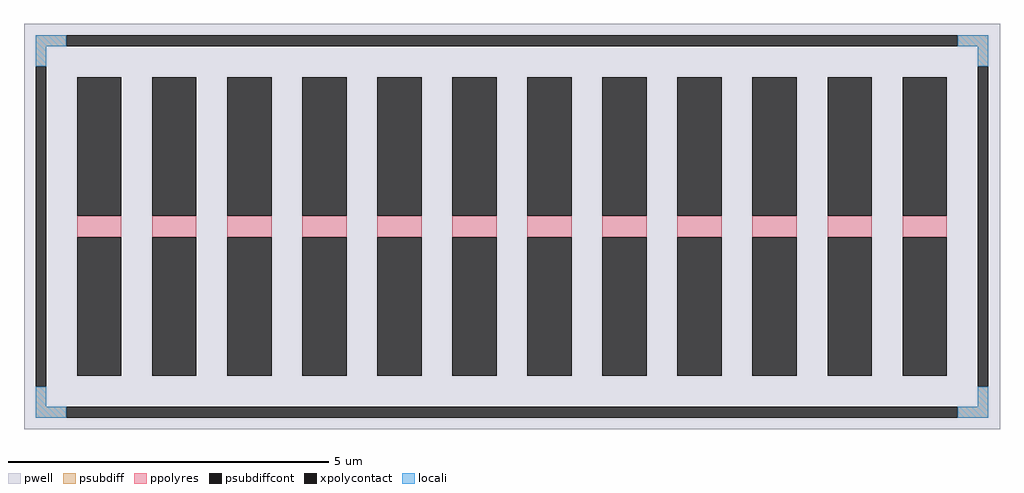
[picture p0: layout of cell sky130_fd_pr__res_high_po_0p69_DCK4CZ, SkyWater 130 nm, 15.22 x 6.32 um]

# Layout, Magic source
magic
tech sky130A
<< pwell >>
rect -761 -316 761 316
<< psubdiff >>
rect -743 281 -695 298
rect 695 281 743 298
rect -743 250 -726 281
rect 726 250 743 281
rect -743 -281 -726 -250
rect 726 -281 743 -250
rect -743 -298 -695 -281
rect 695 -298 743 -281
<< psubdiffcont >>
rect -695 281 695 298
rect -743 -250 -726 250
rect 726 -250 743 250
rect -695 -298 695 -281
<< xpolycontact >>
rect -678 17 -609 233
rect -678 -233 -609 -17
rect -561 17 -492 233
rect -561 -233 -492 -17
rect -444 17 -375 233
rect -444 -233 -375 -17
rect -327 17 -258 233
rect -327 -233 -258 -17
rect -210 17 -141 233
rect -210 -233 -141 -17
rect -93 17 -24 233
rect -93 -233 -24 -17
rect 24 17 93 233
rect 24 -233 93 -17
rect 141 17 210 233
rect 141 -233 210 -17
rect 258 17 327 233
rect 258 -233 327 -17
rect 375 17 444 233
rect 375 -233 444 -17
rect 492 17 561 233
rect 492 -233 561 -17
rect 609 17 678 233
rect 609 -233 678 -17
<< ppolyres >>
rect -678 -17 -609 17
rect -561 -17 -492 17
rect -444 -17 -375 17
rect -327 -17 -258 17
rect -210 -17 -141 17
rect -93 -17 -24 17
rect 24 -17 93 17
rect 141 -17 210 17
rect 258 -17 327 17
rect 375 -17 444 17
rect 492 -17 561 17
rect 609 -17 678 17
<< locali >>
rect -743 281 -695 298
rect 695 281 743 298
rect -743 250 -726 281
rect 726 250 743 281
rect -743 -281 -726 -250
rect 726 -281 743 -250
rect -743 -298 -695 -281
rect 695 -298 743 -281
<< properties >>
string FIXED_BBOX -734 -289 734 289
string gencell sky130_fd_pr__res_high_po_0p69
string library sky130
string parameters w 0.690 l 0.50 m 1 nx 12 wmin 0.690 lmin 0.50 rho 319.8 val 796.434 dummy 0 dw 0.0 term 194.82 sterm 0.0 caplen 0 guard 1 glc 1 grc 1 gtc 1 gbc 1 compatible {sky130_fd_pr__res_high_po_0p35  sky130_fd_pr__res_high_po_0p69 sky130_fd_pr__res_high_po_1p41  sky130_fd_pr__res_high_po_2p85 sky130_fd_pr__res_high_po_5p73} snake 0 full_metal 1 wmax 0.690 n_guard 0 hv_guard 0 vias 0 viagb 0 viagt 0 viagl 0 viagr 0
<< end >>
